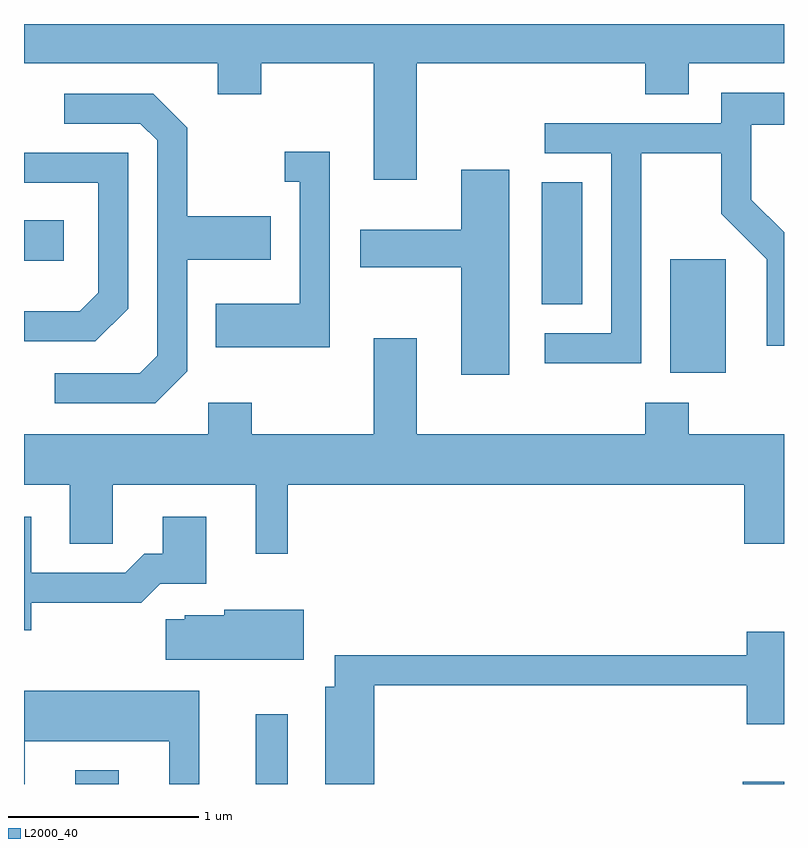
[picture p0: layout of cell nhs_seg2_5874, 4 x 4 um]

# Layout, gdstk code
import gdstk
lib = gdstk.Library(unit=1e-6, precision=1e-09)
def R(c, l, rs):  # rectangles x0, y0, x1, y1
    for r in rs: c.add(gdstk.rectangle(r[:2], r[2:], *l))
def P(c, l, *ps):  # polygons
    for p in ps: c.add(gdstk.Polygon(p, *l))
L2000_40 = (2000, 40)

nhs_seg2_5874 = lib.new_cell('nhs_seg2_5874')
R(nhs_seg2_5874, L2000_40, [(357.881,1097.802,358.109,1097.874), (358.831,1097.802,358.999,1098.168), (361.393,1097.802,361.611,1097.814), (361.011,1099.966,361.304,1100.564), (360.336,1100.326,360.549,1100.969), (357.611,1100.556,357.819,1100.769)])
P(nhs_seg2_5874, L2000_40, [(359.679,1101.596),(360.881,1101.596),(360.881,1101.431),(361.109,1101.431),(361.109,1101.596),(361.611,1101.596),(361.611,1101.802),(357.611,1101.802),(357.611,1101.596),(358.631,1101.596),(358.631,1101.431),(358.859,1101.431),(358.859,1101.596),(359.451,1101.596),(359.451,1100.981),(359.679,1100.981)],
  [(360.859,1101.121),(361.281,1101.121),(361.281,1100.804),(361.521,1100.564),(361.521,1100.108),(361.611,1100.108),(361.611,1100.705),(361.439,1100.877),(361.439,1101.271),(361.611,1101.271),(361.611,1101.439),(361.281,1101.439),(361.281,1101.279),(360.353,1101.279),(360.353,1101.121),(360.701,1101.121),(360.701,1100.174),(360.353,1100.174),(360.353,1100.016),(360.859,1100.016)],
  [(358.469,1099.974),(358.469,1100.561),(358.909,1100.561),(358.909,1100.789),(358.469,1100.789),(358.469,1101.257),(358.292,1101.434),(357.823,1101.434),(357.823,1101.276),(358.224,1101.276),(358.311,1101.189),(358.311,1100.057),(358.219,1099.964),(357.773,1099.964),(357.773,1099.806),(358.302,1099.806)],
  [(359.219,1101.129),(358.983,1101.129),(358.983,1100.971),(359.061,1100.971),(359.061,1100.329),(358.621,1100.329),(358.621,1100.101),(359.219,1100.101)],
  [(358.159,1100.304),(358.159,1101.124),(357.611,1101.124),(357.611,1100.966),(358.001,1100.966),(358.001,1100.387),(357.904,1100.289),(357.611,1100.289),(357.611,1100.131),(357.987,1100.131)],
  [(360.164,1101.034),(359.911,1101.034),(359.911,1100.719),(359.381,1100.719),(359.381,1100.521),(359.911,1100.521),(359.911,1099.956),(360.164,1099.956)],
  [(358.999,1099.376),(361.401,1099.376),(361.401,1099.066),(361.611,1099.066),(361.611,1099.644),(361.109,1099.644),(361.109,1099.809),(360.881,1099.809),(360.881,1099.644),(359.679,1099.644),(359.679,1100.149),(359.451,1100.149),(359.451,1099.644),(358.809,1099.644),(358.809,1099.809),(358.581,1099.809),(358.581,1099.644),(357.611,1099.644),(357.611,1099.376),(357.851,1099.376),(357.851,1099.066),(358.079,1099.066),(358.079,1099.376),(358.831,1099.376),(358.831,1099.013),(358.999,1099.013)],
  [(357.649,1098.756),(358.227,1098.756),(358.327,1098.856),(358.569,1098.856),(358.569,1099.209),(358.341,1099.209),(358.341,1099.014),(358.244,1099.014),(358.144,1098.914),(357.649,1098.914),(357.649,1099.209),(357.611,1099.209),(357.611,1098.611),(357.649,1098.611)],
  [(359.084,1098.719),(358.666,1098.719),(358.666,1098.689),(358.456,1098.689),(358.456,1098.669),(358.356,1098.669),(358.356,1098.456),(359.084,1098.456)],
  [(359.454,1098.321),(361.416,1098.321),(361.416,1098.116),(361.611,1098.116),(361.611,1098.604),(361.416,1098.604),(361.416,1098.479),(359.246,1098.479),(359.246,1098.314),(359.196,1098.314),(359.196,1097.802),(359.454,1097.802)],
  [(357.614,1098.026),(358.376,1098.026),(358.376,1097.802),(358.534,1097.802),(358.534,1098.294),(357.611,1098.294),(357.611,1097.802),(357.614,1097.802)])

lib.write_gds('nhs_seg2_5874.gds')
